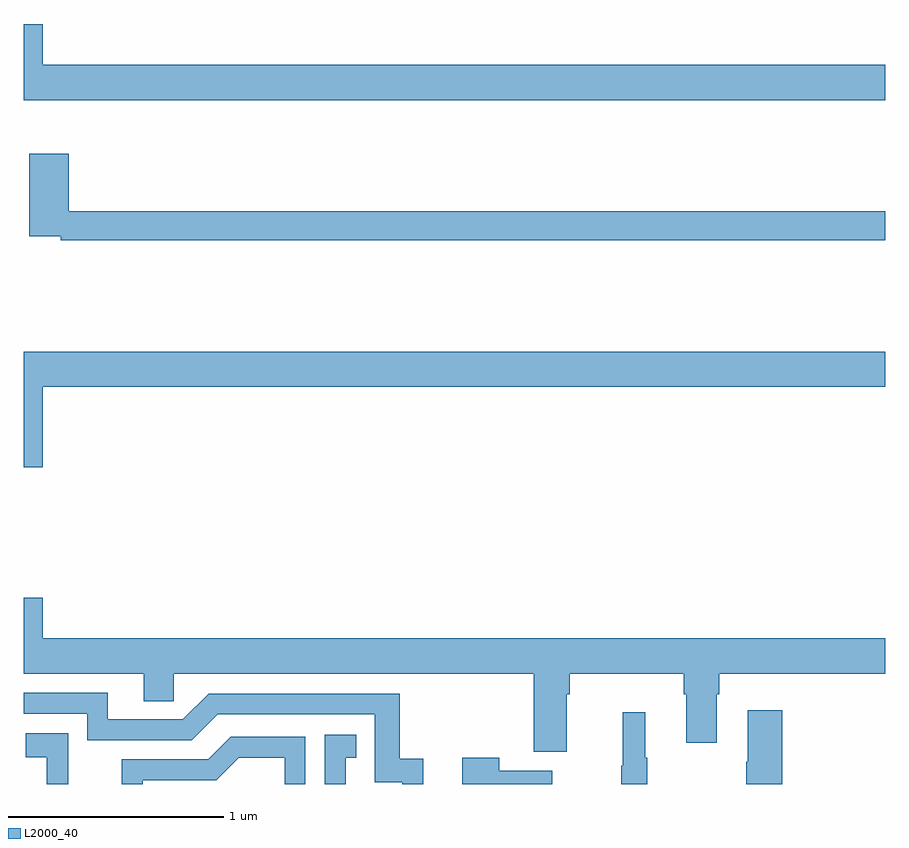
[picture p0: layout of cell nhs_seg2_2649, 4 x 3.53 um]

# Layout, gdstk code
import gdstk
lib = gdstk.Library(unit=1e-6, precision=1e-09)
def P(c, l, *ps):  # polygons
    for p in ps: c.add(gdstk.Polygon(p, *l))
L2000_40 = (2000, 40)

nhs_seg2_2649 = lib.new_cell('nhs_seg2_2649')
P(nhs_seg2_2649, L2000_40, [(253,641.14),(249.088,641.14),(249.088,641.329),(249,641.329),(249,640.976),(253,640.976)],
  [(253,640.46),(249.209,640.46),(249.209,640.726),(249.026,640.726),(249.026,640.344),(249.172,640.344),(249.172,640.324),(253,640.324)],
  [(249.088,639.644),(253,639.644),(253,639.808),(249,639.808),(249,639.27),(249.088,639.27)],
  [(251.521,638.216),(251.534,638.216),(251.534,638.312),(252.065,638.312),(252.065,638.216),(252.077,638.216),(252.077,637.992),(252.217,637.992),(252.217,638.216),(252.23,638.216),(252.23,638.312),(253,638.312),(253,638.476),(249.088,638.476),(249.088,638.665),(249,638.665),(249,638.312),(249.557,638.312),(249.557,638.185),(249.696,638.185),(249.696,638.312),(251.369,638.312),(251.369,637.95),(251.521,637.95)],
  [(250.856,637.918),(250.745,637.918),(250.745,638.22),(249.858,638.22),(249.738,638.1),(249.391,638.1),(249.391,638.223),(249,638.223),(249,638.127),(249.294,638.127),(249.294,638.004),(249.78,638.004),(249.9,638.124),(250.629,638.124),(250.629,637.809),(250.758,637.809),(250.758,637.8),(250.856,637.8)],
  [(252.521,638.143),(252.362,638.143),(252.362,637.904),(252.355,637.904),(252.355,637.8),(252.521,637.8)],
  [(251.896,637.921),(251.885,637.921),(251.885,638.134),(251.782,638.134),(251.782,637.884),(251.775,637.884),(251.775,637.8),(251.896,637.8)],
  [(249.206,637.829),(249.207,637.829),(249.207,638.035),(249.009,638.035),(249.009,637.925),(249.107,637.925),(249.107,637.8),(249.206,637.8)],
  [(250.495,637.923),(250.544,637.923),(250.544,638.029),(250.398,638.029),(250.398,637.8),(250.495,637.8)],
  [(249.552,637.818),(249.894,637.818),(249.998,637.922),(250.212,637.922),(250.212,637.8),(250.308,637.8),(250.308,638.019),(249.962,638.019),(249.857,637.914),(249.454,637.914),(249.454,637.8),(249.552,637.8)],
  [(251.455,637.861),(251.207,637.861),(251.207,637.921),(251.036,637.921),(251.036,637.8),(251.455,637.8)])

lib.write_gds('nhs_seg2_2649.gds')
